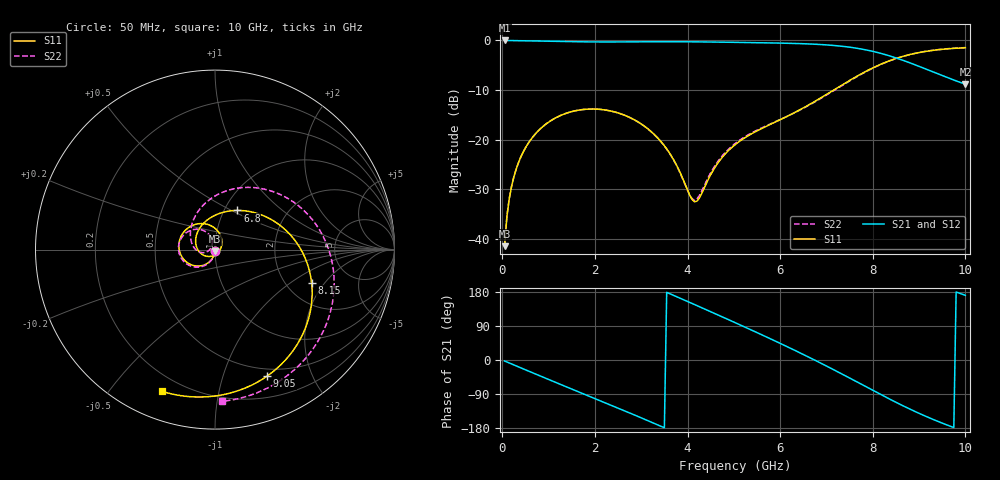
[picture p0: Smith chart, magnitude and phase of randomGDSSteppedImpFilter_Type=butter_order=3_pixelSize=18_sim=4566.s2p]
! freq	dB(S11)	phase(S11)	dB(S12)	phase(S12)
!  dB(S21)	phase(S21)	dB(S22)	phase(S22)
!S-par simulation data
#  GHz  S  DB  R 50
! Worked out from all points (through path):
!   200 points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, 50 MHz to 10 GHz, reference 50 ohm
!   highest |S21| = -0.01 dB at 50 MHz (marker M1); lowest = -8.8 dB at 10 GHz (marker M2)
!   group delay of S21, straight-line fit = 155 ps
!   lowest |S11| = -41.4 dB at 50 MHz (marker M3), VSWR 1.02, Z = 50 - j0.845 ohm
!   |S11| at or under -10 dB: start of sweep to 7.155 GHz
!   |S22| runs from -41.4 to -1.4 dB; largest |S21 - S12| = 0
!   S11 on the Smith chart (normalised r, x): 50 MHz: 1.00, -0.02; 6.8 GHz: 1.15, +0.54; 8.15 GHz: 2.73, -1.50; 9.05 GHz: 0.42, -1.41; 10 GHz: 0.13, -0.68
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0.05  -41.45 -92.5  -0.01 -2.7  -0.01 -2.7  -41.43 -92.2
0.1  -35.42 -95.5  -0.01 -5.3  -0.01 -5.3  -35.41 -95.1
0.2  -29.41 -101.1  -0.03 -10.4  -0.03 -10.4  -29.40 -100.3
0.5  -21.65 -117.4  -0.07 -25.9  -0.07 -25.9  -21.64 -115.4
1.15  -15.60 -152.2  -0.19 -59.0  -0.19 -59.0  -15.60 -147.2
1.75  -13.91 175.9  -0.28 -89.1  -0.28 -89.1  -13.91 -175.7
2.5  -14.60 134.8  -0.30 -126.9  -0.30 -126.9  -14.61 149.8
3.4  -20.09 78.2  -0.26 -173.5  -0.26 -173.5  -20.13 113.6
4.15  -32.49 -37.8  -0.28 146.4  -0.28 146.4  -32.21 152.4
4.6  -25.47 -133.9  -0.33 122.0  -0.33 122.0  -25.12 -164.0
5.05  -20.84 -174.4  -0.39 97.4  -0.39 97.4  -20.60 -173.5
5.8  -16.86 128.8  -0.50 55.4  -0.50 55.4  -16.77 158.0
6.3  -14.59 93.1  -0.60 26.5  -0.60 26.5  -14.63 135.2
6.7  -12.54 66.6  -0.74 2.6  -0.74 2.6  -12.65 113.7
6.8  -12.00 60.3  -0.79 -3.5  -0.79 -3.5  -12.11 107.9
7.15  -10.03 39.0  -1.01 -25.3  -1.01 -25.3  -10.15 86.0
7.55  -7.79 15.5  -1.42 -50.8  -1.42 -50.8  -7.88 59.1
8.15  -4.89 -19.1  -2.55 -89.6  -2.55 -89.6  -4.93 17.3
8.35  -4.13 -30.4  -3.07 -102.3  -3.07 -102.3  -4.16 3.7
9.05  -2.35 -67.8  -5.41 -143.5  -5.41 -143.5  -2.34 -40.0
9.5  -1.79 -89.2  -7.08 -166.6  -7.08 -166.6  -1.76 -64.1
10  -1.48 -110.7  -8.82 170.6  -8.82 170.6  -1.45 -87.5
